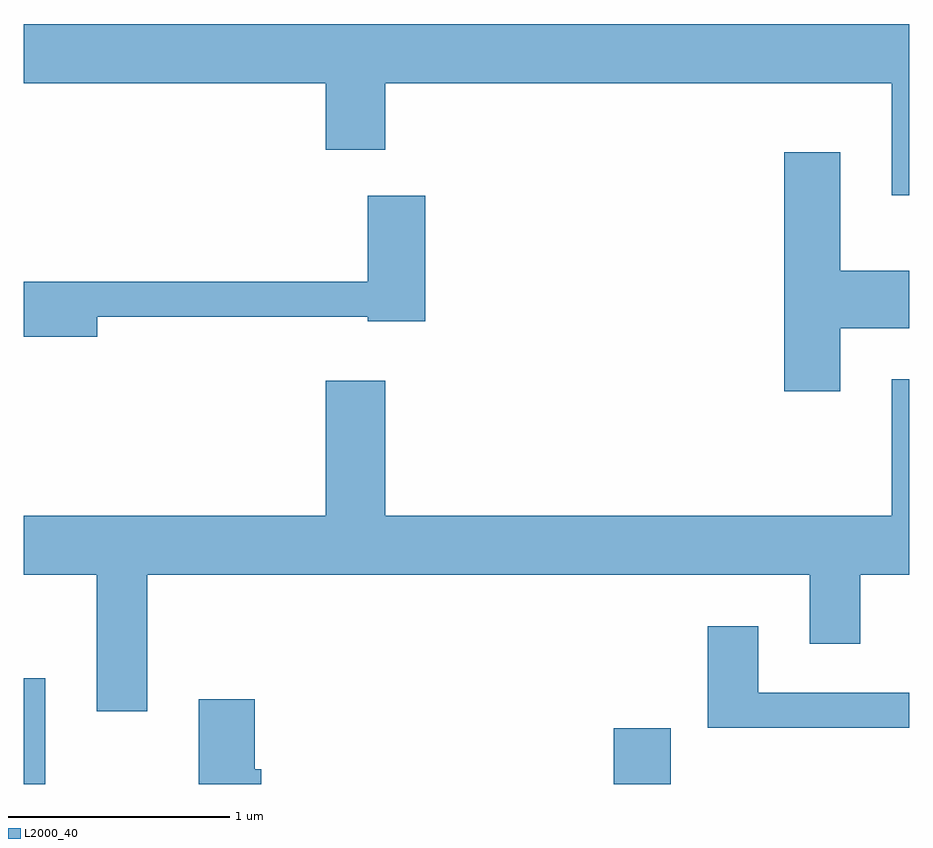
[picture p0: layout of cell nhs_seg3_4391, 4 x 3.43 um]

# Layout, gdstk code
import gdstk
lib = gdstk.Library(unit=1e-6, precision=1e-09)
def R(c, l, rs):  # rectangles x0, y0, x1, y1
    for r in rs: c.add(gdstk.rectangle(r[:2], r[2:], *l))
def P(c, l, *ps):  # polygons
    for p in ps: c.add(gdstk.Polygon(p, *l))
L2000_40 = (2000, 40)

nhs_seg3_4391 = lib.new_cell('nhs_seg3_4391')
R(nhs_seg3_4391, L2000_40, [(313.611,1193.892,313.709,1194.369), (316.276,1193.892,316.534,1194.144)])
P(nhs_seg3_4391, L2000_40, [(317.611,1197.324),(313.611,1197.324),(313.611,1197.056),(314.976,1197.056),(314.976,1196.756),(315.244,1196.756),(315.244,1197.056),(317.531,1197.056),(317.531,1196.551),(317.611,1196.551)],
  [(317.299,1195.951),(317.611,1195.951),(317.611,1196.209),(317.299,1196.209),(317.299,1196.744),(317.046,1196.744),(317.046,1195.666),(317.299,1195.666)],
  [(313.944,1196.001),(315.166,1196.001),(315.166,1195.981),(315.424,1195.981),(315.424,1196.549),(315.166,1196.549),(315.166,1196.159),(313.611,1196.159),(313.611,1195.911),(313.944,1195.911)],
  [(314.169,1194.836),(317.161,1194.836),(317.161,1194.526),(317.389,1194.526),(317.389,1194.836),(317.611,1194.836),(317.611,1195.719),(317.531,1195.719),(317.531,1195.104),(315.244,1195.104),(315.244,1195.714),(314.976,1195.714),(314.976,1195.104),(313.611,1195.104),(313.611,1194.836),(313.941,1194.836),(313.941,1194.221),(314.169,1194.221)],
  [(317.611,1194.304),(316.929,1194.304),(316.929,1194.604),(316.701,1194.604),(316.701,1194.146),(317.611,1194.146)],
  [(314.684,1193.959),(314.654,1193.959),(314.654,1194.274),(314.401,1194.274),(314.401,1193.892),(314.684,1193.892)])

lib.write_gds('nhs_seg3_4391.gds')
